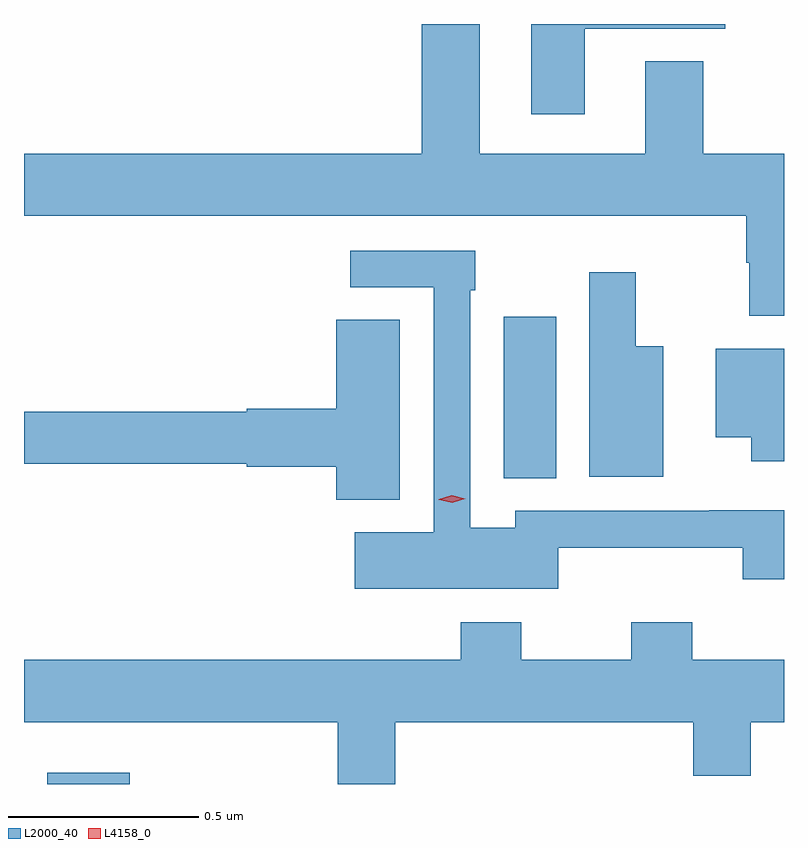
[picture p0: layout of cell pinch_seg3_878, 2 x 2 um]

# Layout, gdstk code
import gdstk
lib = gdstk.Library(unit=1e-6, precision=1e-09)
def R(c, l, rs):  # rectangles x0, y0, x1, y1
    for r in rs: c.add(gdstk.rectangle(r[:2], r[2:], *l))
def P(c, l, *ps):  # polygons
    for p in ps: c.add(gdstk.Polygon(p, *l))
L2000_40 = (2000, 40)
L4158_0 = (4158, 0)

pinch_seg3_878 = lib.new_cell('pinch_seg3_878')
R(pinch_seg3_878, L2000_40, [(689.631,680.773,689.848,680.803), (690.833,681.577,690.97,682.003)])
P(pinch_seg3_878, L2000_40, [(691.57,682.432),(691.358,682.432),(691.358,682.675),(691.205,682.675),(691.205,682.432),(690.769,682.432),(690.769,682.773),(690.617,682.773),(690.617,682.432),(689.57,682.432),(689.57,682.268),(691.471,682.268),(691.471,682.145),(691.479,682.145),(691.479,682.005),(691.57,682.005)],
  [(691.045,682.76),(691.415,682.76),(691.415,682.773),(690.905,682.773),(690.905,682.536),(691.045,682.536)],
  [(690.976,681.395),(691.462,681.395),(691.462,681.312),(691.57,681.312),(691.57,681.493),(691.373,681.493),(691.373,681.492),(690.863,681.492),(690.863,681.448),(690.744,681.448),(690.744,682.073),(690.757,682.073),(690.757,682.176),(690.429,682.176),(690.429,682.08),(690.648,682.08),(690.648,681.436),(690.441,681.436),(690.441,681.287),(690.976,681.287)],
  [(691.252,681.925),(691.18,681.925),(691.18,682.12),(691.058,682.12),(691.058,681.581),(691.252,681.581)],
  [(690.559,681.995),(690.392,681.995),(690.392,681.76),(690.156,681.76),(690.156,681.752),(689.57,681.752),(689.57,681.616),(690.156,681.616),(690.156,681.608),(690.392,681.608),(690.392,681.521),(690.559,681.521)],
  [(691.57,681.919),(691.391,681.919),(691.391,681.686),(691.484,681.686),(691.484,681.623),(691.57,681.623)],
  [(690.547,680.936),(691.331,680.936),(691.331,680.795),(691.483,680.795),(691.483,680.936),(691.57,680.936),(691.57,681.1),(691.328,681.1),(691.328,681.199),(691.168,681.199),(691.168,681.1),(690.879,681.1),(690.879,681.199),(690.719,681.199),(690.719,681.1),(689.57,681.1),(689.57,680.936),(690.395,680.936),(690.395,680.773),(690.547,680.773)])
P(pinch_seg3_878, L4158_0, [(690.697,681.513),(690.662,681.521),(690.662,681.521),(690.662,681.522),(690.696,681.533),(690.731,681.524),(690.731,681.524),(690.731,681.524)])

lib.write_gds('pinch_seg3_878.gds')
